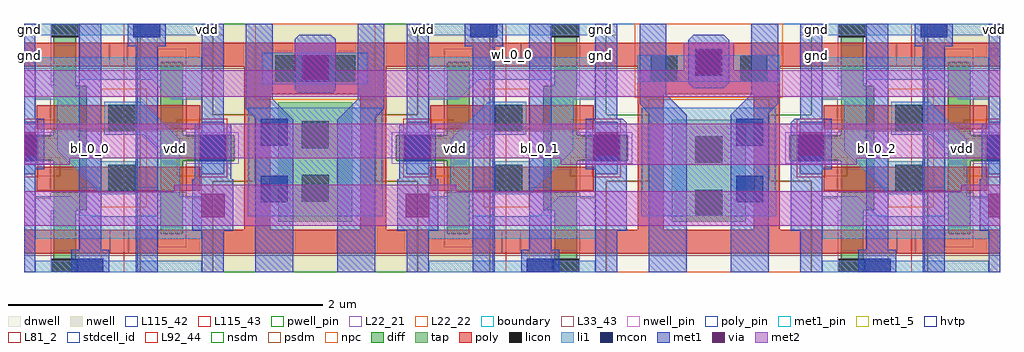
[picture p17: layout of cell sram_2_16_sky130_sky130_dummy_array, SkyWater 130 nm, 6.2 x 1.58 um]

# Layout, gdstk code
from math import pi, radians
import gdstk
lib = gdstk.Library(unit=1e-6, precision=1e-09)
def R(c, l, rs):  # rectangles x0, y0, x1, y1
    for r in rs: c.add(gdstk.rectangle(r[:2], r[2:], *l))
def P(c, l, *ps):  # polygons
    for p in ps: c.add(gdstk.Polygon(p, *l))
L22_21 = (22, 21)
L22_22 = (22, 22)
L33_43 = (33, 43)
nwell_pin = (64, 16)
dnwell = (64, 18)
nwell = (64, 20)
diff = (65, 20)
tap = (65, 44)
poly_pin = (66, 16)
poly = (66, 20)
licon = (66, 44)
li1 = (67, 20)
mcon = (67, 44)
met1_5 = (68, 5)
met1_pin = (68, 16)
met1 = (68, 20)
via = (68, 44)
met2 = (69, 20)
hvtp = (78, 44)
L81_2 = (81, 2)
stdcell_id = (81, 4)
L92_44 = (92, 44)
nsdm = (93, 44)
psdm = (94, 20)
npc = (95, 20)
L115_42 = (115, 42)
L115_43 = (115, 43)
pwell_pin = (122, 16)
boundary = (235, 4)

sky130_fd_bd_sram__openr = lib.new_cell('sky130_fd_bd_sram__openram_sp_cell_opt1a_dummy')
R(sky130_fd_bd_sram__openr, L22_21, [(0.17,0,0.19,0.395), (0.33,0,0.35,0.395), (0,0.69,0.19,0.71), (0,0.87,0.19,0.89), (0.17,1.185,0.19,1.58), (0.33,1.185,0.35,1.58)])
P(sky130_fd_bd_sram__openr, L22_21, [(0.85,0.16),(0.85,1.42),(1.03,1.42),(1.03,0.89),(1.2,0.89),(1.2,0.87),(1.01,0.87),(1.01,1.335),(0.87,1.335),(0.87,0.245),(1.01,0.245),(1.01,0.71),(1.2,0.71),(1.2,0.69),(1.03,0.69),(1.03,0.16)])
R(sky130_fd_bd_sram__openr, L22_22, [(0.07,0.61,0.23,0.73), (0.97,0.61,1.13,0.73), (0.07,0.85,0.23,0.97), (0.97,0.85,1.13,0.97)])
R(sky130_fd_bd_sram__openr, L33_43, [(0,0.27,0.08,0.285), (0.08,0.27,1.2,0.285), (0.07,0.47,0.17,0.72), (1.03,0.47,1.13,0.72), (0.07,0.67,1.13,0.685), (0.07,0.86,0.17,1.11), (1.03,0.86,1.13,1.11), (0.07,1.06,1.13,1.075), (0,1.46,0.08,1.475), (0.08,1.46,1.2,1.475)])
R(sky130_fd_bd_sram__openr, nwell_pin, [(1.14,0.155,1.19,0.205), (0.01,0.17,0.06,0.23)])
R(sky130_fd_bd_sram__openr, dnwell, [(0,0,1.2,1.58)])
R(sky130_fd_bd_sram__openr, nwell, [(0.72,0,1.2,1.58), (0.72,0,1.2,1.58)])
P(sky130_fd_bd_sram__openr, diff, [(0.87,0.245),(0.87,1.335),(1.01,1.335),(1.01,0.87),(1.2,0.87),(1.2,0.71),(1.01,0.71),(1.01,0.245)],
  [(0.19,0),(0.19,0.71),(0,0.71),(0,0.87),(0.19,0.87),(0.19,1.58),(0.33,1.58),(0.33,1.185),(0.4,1.185),(0.4,0.395),(0.33,0.395),(0.33,0)])
R(sky130_fd_bd_sram__openr, poly_pin, [(0.54,0.12,0.66,0.27), (0.545,1.31,0.665,1.46)])
R(sky130_fd_bd_sram__openr, poly, [(0,0.12,0.08,0.27), (0.08,0.12,1.2,0.27), (0.08,0.12,1.2,0.27), (0.08,0.52,1.12,0.67), (0.08,0.91,1.12,1.06), (0,1.31,0.08,1.46), (0.08,1.31,1.2,1.46)])
R(sky130_fd_bd_sram__openr, licon, [(0.175,0,0.345,0.085), (0.535,0.515,0.705,0.685), (0,0.705,0.085,0.875), (1.115,0.705,1.2,0.875), (0.535,0.895,0.705,1.065), (0.175,1.495,0.345,1.58)])
R(sky130_fd_bd_sram__openr, li1, [(0.07,0,1.13,0.075), (0,0.625,0.07,0.955), (1.13,0.625,1.2,0.955), (0.07,1.505,1.13,1.58)])
P(sky130_fd_bd_sram__openr, li1, [(0.07,0.215),(0.07,0.485),(0.21,0.485),(0.21,0.805),(0.49,1.085),(0.71,1.085),(0.71,0.875),(0.48,0.875),(0.35,0.745),(0.35,0.355),(0.81,0.355),(0.94,0.485),(1.13,0.485),(1.13,0.215)],
  [(0.51,0.495),(0.51,0.705),(0.76,0.705),(0.85,0.795),(0.85,1.225),(0.43,1.225),(0.3,1.095),(0.07,1.095),(0.07,1.365),(1.13,1.365),(1.13,1.095),(0.99,1.095),(0.99,0.735),(0.75,0.495)])
R(sky130_fd_bd_sram__openr, mcon, [(0.695,0,0.865,0.085), (0,0.705,0.085,0.875), (1.115,0.705,1.2,0.875), (1.115,0.705,1.2,0.875), (0.335,1.495,0.505,1.58)])
R(sky130_fd_bd_sram__openr, met1_5, [(0,0,0.07,0.075), (1.13,0,1.2,0.075), (0.35,1.04,0.49,1.22), (0.71,1.04,0.85,1.22)])
R(sky130_fd_bd_sram__openr, met1_pin, [(0,0,0.07,0.075), (1.13,0,1.2,0.075), (0.35,1.04,0.49,1.22), (0.71,1.04,0.85,1.22)])
R(sky130_fd_bd_sram__openr, met1, [(0,0,0.07,0.075), (1.13,0,1.2,0.075), (0.35,1.04,0.49,1.22), (0.71,1.04,0.85,1.22)])
P(sky130_fd_bd_sram__openr, met1, [(1.13,0),(1.13,0.635),(1.095,0.635),(1.085,0.645),(1.085,0.99),(1.07,0.99),(1.07,1.315),(1.13,1.315),(1.13,1.58),(1.2,1.58),(1.2,0)],
  [(0.66,0),(0.66,0.145),(0.71,0.145),(0.71,1.58),(0.85,1.58),(0.85,0.145),(0.9,0.145),(0.9,0)],
  [(0.35,0),(0.35,1.435),(0.3,1.435),(0.3,1.58),(0.54,1.58),(0.54,1.435),(0.49,1.435),(0.49,0)],
  [(0,0),(0,1.58),(0.07,1.58),(0.07,0.925),(0.13,0.925),(0.13,0.605),(0.07,0.605),(0.07,0)])
R(sky130_fd_bd_sram__openr, via, [(0,0.69,0.075,0.84), (1.125,1.08,1.2,1.23)])
R(sky130_fd_bd_sram__openr, met2, [(0,0.295,1.2,0.465)])
P(sky130_fd_bd_sram__openr, met2, [(0,0.635),(0,0.895),(0.29,0.895),(0.29,0.855),(1.2,0.855),(1.2,0.635)],
  [(0.955,1.025),(0.955,1.065),(0,1.065),(0,1.285),(1.2,1.285),(1.2,1.025)])
R(sky130_fd_bd_sram__openr, hvtp, [(0.72,0,1.2,1.58)])
R(sky130_fd_bd_sram__openr, L81_2, [(0,0,1.2,1.58)])
R(sky130_fd_bd_sram__openr, L92_44, [(0.635,0,1.2,1.58)])
R(sky130_fd_bd_sram__openr, nsdm, [(0,0,0.74,1.58)])
R(sky130_fd_bd_sram__openr, psdm, [(0.74,0,1.2,1.58)])
R(sky130_fd_bd_sram__openr, npc, [(0.49,0.415,0.78,1.165)])
P(sky130_fd_bd_sram__openr, L115_43, [(1.11,0.605),(1.11,0.975),(1.2,0.975),(1.2,0.955),(1.13,0.955),(1.13,0.625),(1.2,0.625),(1.2,0.605)],
  [(0,0.605),(0,0.625),(0.07,0.625),(0.07,0.955),(0,0.955),(0,0.975),(0.09,0.975),(0.09,0.605)])
R(sky130_fd_bd_sram__openr, pwell_pin, [(0.01,0.17,0.06,0.23), (0.01,0.17,0.06,0.23)])
sky130_fd_bd_sram__openr.add(gdstk.Label('npass', (0.3,0.21), layer=66, texttype=83))
sky130_fd_bd_sram__openr.add(gdstk.Label('npd', (0.295,0.61), layer=66, texttype=83))
sky130_fd_bd_sram__openr.add(gdstk.Label('npd', (0.295,1), layer=66, texttype=83))
sky130_fd_bd_sram__openr.add(gdstk.Label('npass', (0.3,1.41), layer=66, texttype=83))
sky130_fd_bd_sram__openr.add(gdstk.Label('ppu', (0.93,1.01), layer=66, texttype=83))
sky130_fd_bd_sram__openr.add(gdstk.Label('ppu', (0.945,0.625), layer=66, texttype=83))
sky130_fd_bd_sram__openr.add(gdstk.Label('ppu', (0.94,1.33), layer=66, texttype=83))
sky130_fd_bd_sram__openr.add(gdstk.Label('ppu', (0.94,0.26), layer=66, texttype=83))
sky130_fd_bd_sram__openr.add(gdstk.Label('BL', (0.425,1.16), layer=68, texttype=5))
sky130_fd_bd_sram__openr.add(gdstk.Label('BR', (0.79,1.16), layer=68, texttype=5))
sky130_fd_bd_sram__openr.add(gdstk.Label('VGND', (0.035,0.04), layer=68, texttype=5))
sky130_fd_bd_sram__openr.add(gdstk.Label('VPWR', (1.165,0.04), layer=68, texttype=5))
sky130_fd_bd_sram__openr.add(gdstk.Label('VPB', (1.165,0.18), layer=64, texttype=5))
sky130_fd_bd_sram__openr.add(gdstk.Label('WL', (0.6,0.195), layer=66, texttype=5))
sky130_fd_bd_sram__openr.add(gdstk.Label('VNB', (0.035,0.2), layer=64, texttype=59))
sky130_fd_bd_sram__openr.add(gdstk.Label('bl', (0.42,1.13), layer=68, texttype=5))
sky130_fd_bd_sram__openr.add(gdstk.Label('br', (0.78,1.13), layer=68, texttype=5))
sky130_fd_bd_sram__openr.add(gdstk.Label('gnd', (0.035,0.038), layer=68, texttype=5))
sky130_fd_bd_sram__openr.add(gdstk.Label('vdd', (1.165,0.038), layer=68, texttype=5))
sky130_fd_bd_sram__openr.add(gdstk.Label('vpb', (0.96,0.79), layer=64, texttype=5))
sky130_fd_bd_sram__openr.add(gdstk.Label('vnb', (0.035,0.2), layer=64, texttype=59))
sky130_fd_bd_sram__openr.add(gdstk.Label('wl', (0.64,0.195), layer=66, texttype=5))

sky130_fd_bd_sram__sram_ = lib.new_cell('sky130_fd_bd_sram__sram_sp_wlstrapa_p1m_siz')
R(sky130_fd_bd_sram__sram_, L33_43, [(0,0.105,1.3,0.12), (0,1.295,0.2,1.31), (1.1,1.295,1.3,1.31)])

c_sky130_fd_bd_sram__sram_ = lib.new_cell('sky130_fd_bd_sram__sram_sp_wlstrap_ce')
P(c_sky130_fd_bd_sram__sram_, L22_21, [(0,0.69),(0,0.71),(0.135,0.71),(0.135,0.87),(0,0.87),(0,0.89),(0.165,0.89),(0.165,0.69)],
  [(1.135,0.69),(1.135,0.89),(1.3,0.89),(1.3,0.87),(1.165,0.87),(1.165,0.71),(1.3,0.71),(1.3,0.69)])
R(c_sky130_fd_bd_sram__sram_, dnwell, [(0,0,1.3,1.58)])
R(c_sky130_fd_bd_sram__sram_, nwell, [(0,0,1.3,1.58)])
R(c_sky130_fd_bd_sram__sram_, diff, [(0,0.71,0.135,0.87), (1.165,0.71,1.3,0.87)])
R(c_sky130_fd_bd_sram__sram_, tap, [(0.415,0.5,0.885,1.26)])
P(c_sky130_fd_bd_sram__sram_, poly, [(0,0.12),(0,0.27),(0.2,0.27),(0.2,1.31),(0,1.31),(0,1.46),(1.3,1.46),(1.3,1.31),(1.1,1.31),(1.1,0.27),(1.3,0.27),(1.3,0.12),(0.935,0.12),(0.935,1.31),(0.365,1.31),(0.365,0.45),(0.935,0.45),(0.935,0.12)])
R(c_sky130_fd_bd_sram__sram_, licon, [(0.395,0.2,0.565,0.37), (0.735,0.2,0.905,0.37), (0.565,0.62,0.735,0.79), (0,0.705,0.085,0.875), (1.215,0.705,1.3,0.875), (0.565,0.96,0.735,1.13)])
R(c_sky130_fd_bd_sram__sram_, li1, [(0.315,0.185,0.985,0.385), (0.22,0.535,1.08,1.225), (0,0.625,0.07,0.955), (1.23,0.625,1.3,0.955)])
R(c_sky130_fd_bd_sram__sram_, mcon, [(0.565,0.2,0.735,0.37), (0.305,0.605,0.475,0.775), (0,0.705,0.085,0.875), (1.215,0.705,1.3,0.875), (0.305,0.965,0.475,1.135)])
P(c_sky130_fd_bd_sram__sram_, met1, [(0.21,0),(0.21,0.54),(0.27,0.6),(0.27,1.58),(0.51,1.58),(0.51,0.61),(0.38,0.48),(0.38,0)],
  [(0.55,0.07),(0.52,0.1),(0.52,0.42),(0.54,0.44),(0.76,0.44),(0.78,0.42),(0.78,0.1),(0.75,0.07)],
  [(0.92,0),(0.92,0.48),(0.79,0.61),(0.79,1.58),(1.03,1.58),(1.03,0.6),(1.09,0.54),(1.09,0)],
  [(1.23,0),(1.23,0.635),(1.195,0.635),(1.185,0.645),(1.185,0.99),(1.17,0.99),(1.17,1.315),(1.23,1.315),(1.23,1.58),(1.3,1.58),(1.3,0)],
  [(0,0),(0,1.58),(0.07,1.58),(0.07,1.315),(0.13,1.315),(0.13,0.99),(0.115,0.99),(0.115,0.645),(0.105,0.635),(0.07,0.635),(0.07,0)])
R(c_sky130_fd_bd_sram__sram_, via, [(0.575,0.205,0.725,0.355), (0,1.08,0.075,1.23), (1.225,1.08,1.3,1.23)])
R(c_sky130_fd_bd_sram__sram_, hvtp, [(0,0,1.3,1.58)])
R(c_sky130_fd_bd_sram__sram_, L81_2, [(0,0,1.3,1.58)])
R(c_sky130_fd_bd_sram__sram_, L92_44, [(0,0,1.3,1.58)])
P(c_sky130_fd_bd_sram__sram_, nsdm, [(0,0),(0,0.58),(0.265,0.58),(0.265,1),(0,1),(0,1.58),(1.3,1.58),(1.3,1),(1.035,1),(1.035,0.58),(1.3,0.58),(1.3,0)])
R(c_sky130_fd_bd_sram__sram_, psdm, [(0,0.58,0.265,1), (1.035,0.58,1.3,1)])
R(c_sky130_fd_bd_sram__sram_, npc, [(0.27,0,1.03,0.485)])
R(c_sky130_fd_bd_sram__sram_, L115_42, [(0.22,0.535,0.23,1.055), (1.07,0.535,1.08,1.055)])
P(c_sky130_fd_bd_sram__sram_, L115_43, [(1.21,0.605),(1.21,0.975),(1.3,0.975),(1.3,0.955),(1.23,0.955),(1.23,0.625),(1.3,0.625),(1.3,0.605)],
  [(0,0.605),(0,0.625),(0.07,0.625),(0.07,0.955),(0,0.955),(0,0.975),(0.09,0.975),(0.09,0.605)])

c_sky130_fd_bd_sram__sram__ = lib.new_cell('sky130_fd_bd_sram__sram_sp_wlstrap_met2')
R(c_sky130_fd_bd_sram__sram__, met2, [(0.52,0.12,0.78,0.44), (0,0.295,1.3,0.465), (0,0.635,1.3,0.855), (0,1.025,1.3,1.285)])

c_sky130_fd_bd_sram__sram___ = lib.new_cell('sky130_fd_bd_sram__sram_sp_wlstrapa')
R(c_sky130_fd_bd_sram__sram___, met1_5, [(0,0,0.07,0.075), (1.23,0,1.3,0.075)])
R(c_sky130_fd_bd_sram__sram___, met1_pin, [(0,0,0.07,0.075), (1.23,0,1.3,0.075)])
R(c_sky130_fd_bd_sram__sram___, met1, [(0,0,0.07,0.075), (1.23,0,1.3,0.075)])
c_sky130_fd_bd_sram__sram___.add(gdstk.Reference(sky130_fd_bd_sram__sram_, (0,1.58), x_reflection=True))
c_sky130_fd_bd_sram__sram___.add(gdstk.Reference(c_sky130_fd_bd_sram__sram_, (0,0)))
c_sky130_fd_bd_sram__sram___.add(gdstk.Reference(c_sky130_fd_bd_sram__sram__, (0,0)))
c_sky130_fd_bd_sram__sram___.add(gdstk.Label('VPWR', (0.035,0.04), layer=68, texttype=5))
c_sky130_fd_bd_sram__sram___.add(gdstk.Label('VPWR', (1.265,0.04), layer=68, texttype=5))
c_sky130_fd_bd_sram__sram___.add(gdstk.Label('vdd', (0.035,0.038), layer=68, texttype=5))
c_sky130_fd_bd_sram__sram___.add(gdstk.Label('vdd', (1.265,0.038), layer=68, texttype=5))

c_sky130_fd_bd_sram__sram____ = lib.new_cell('sky130_fd_bd_sram__sram_l1m1')
R(c_sky130_fd_bd_sram__sram____, li1, [(0,0,0.17,0.17)])
R(c_sky130_fd_bd_sram__sram____, mcon, [(0,0,0.17,0.17)])
R(c_sky130_fd_bd_sram__sram____, met1, [(-0.06,-0.03,0.23,0.2)])

c_sky130_fd_bd_sram__sram_____ = lib.new_cell('sky130_fd_bd_sram__sram_sp_wlstrap_p_ce')
P(c_sky130_fd_bd_sram__sram_____, L22_21, [(0,0.69),(0,0.71),(0.135,0.71),(0.135,0.87),(0,0.87),(0,0.89),(0.165,0.89),(0.165,0.69)],
  [(1.135,0.69),(1.135,0.89),(1.3,0.89),(1.3,0.87),(1.165,0.87),(1.165,0.71),(1.3,0.71),(1.3,0.69)])
R(c_sky130_fd_bd_sram__sram_____, dnwell, [(0,0,1.3,1.58)])
R(c_sky130_fd_bd_sram__sram_____, diff, [(0,0.71,0.135,0.87), (1.165,0.71,1.3,0.87)])
R(c_sky130_fd_bd_sram__sram_____, tap, [(0.415,0.61,0.885,1.26)])
R(c_sky130_fd_bd_sram__sram_____, poly, [(0.53,0.12,0.77,0.45), (0.2,1.31,1.1,1.46)])
P(c_sky130_fd_bd_sram__sram_____, poly, [(0,0.12),(0,0.27),(0.2,0.27),(0.2,1.31),(0,1.31),(0,1.46),(0.365,1.46),(0.365,0.45),(0.53,0.45),(0.53,0.12)],
  [(0.77,0.12),(0.77,0.45),(0.935,0.45),(0.935,1.46),(1.3,1.46),(1.3,1.31),(1.1,1.31),(1.1,0.27),(1.3,0.27),(1.3,0.12)])
R(c_sky130_fd_bd_sram__sram_____, licon, [(0.28,0.2,0.45,0.37), (0.85,0.2,1.02,0.37), (0,0.705,0.085,0.875), (1.215,0.705,1.3,0.875), (0.565,0.715,0.735,0.885), (0.565,1.055,0.735,1.225)])
R(c_sky130_fd_bd_sram__sram_____, li1, [(0.22,0.535,1.08,1.225), (0,0.625,0.07,0.955), (1.23,0.625,1.3,0.955)])
R(c_sky130_fd_bd_sram__sram_____, mcon, [(0.825,0.605,0.995,0.775), (0,0.705,0.085,0.875), (1.215,0.705,1.3,0.875), (0.825,0.965,0.995,1.135)])
P(c_sky130_fd_bd_sram__sram_____, met1, [(0.555,0.07),(0.52,0.105),(0.52,0.375),(0.555,0.41),(0.745,0.41),(0.78,0.375),(0.78,0.105),(0.745,0.07)],
  [(0.21,0),(0.21,0.51),(0.27,0.57),(0.27,1.58),(0.51,1.58),(0.51,0.58),(0.38,0.45),(0.38,0)],
  [(0.92,0),(0.92,0.45),(0.79,0.58),(0.79,1.58),(1.03,1.58),(1.03,0.57),(1.09,0.51),(1.09,0)],
  [(1.23,0),(1.23,0.605),(1.195,0.605),(1.17,0.63),(1.17,1.315),(1.23,1.315),(1.23,1.58),(1.3,1.58),(1.3,0)],
  [(0,0),(0,1.58),(0.07,1.58),(0.07,1.315),(0.13,1.315),(0.13,0.63),(0.105,0.605),(0.07,0.605),(0.07,0)])
R(c_sky130_fd_bd_sram__sram_____, via, [(0.575,0.17,0.725,0.32), (0,0.69,0.075,0.84), (1.225,0.69,1.3,0.84)])
R(c_sky130_fd_bd_sram__sram_____, met2, [(0.49,0.12,0.81,0.44)])
R(c_sky130_fd_bd_sram__sram_____, L81_2, [(0,0,1.3,1.58)])
R(c_sky130_fd_bd_sram__sram_____, nsdm, [(0,0.58,0.265,1), (1.035,0.58,1.3,1)])
P(c_sky130_fd_bd_sram__sram_____, psdm, [(0.265,0.48),(0.265,1),(0,1),(0,1.58),(1.3,1.58),(1.3,1),(1.035,1),(1.035,0.48)])
R(c_sky130_fd_bd_sram__sram_____, npc, [(0.18,0,1.12,0.47)])
R(c_sky130_fd_bd_sram__sram_____, L115_42, [(0.22,0.535,0.23,1.055), (1.07,0.535,1.08,1.055)])
P(c_sky130_fd_bd_sram__sram_____, L115_43, [(1.21,0.605),(1.21,0.975),(1.3,0.975),(1.3,0.955),(1.23,0.955),(1.23,0.625),(1.3,0.625),(1.3,0.605)],
  [(0,0.605),(0,0.625),(0.07,0.625),(0.07,0.955),(0,0.955),(0,0.975),(0.09,0.975),(0.09,0.605)])
c_sky130_fd_bd_sram__sram_____.add(gdstk.FlexPath([(0.2,0.285),(1.1,0.285)], 0.17, ends="flush", simple_path=True, layer=67, datatype=20))  # li1
c_sky130_fd_bd_sram__sram_____.add(gdstk.Reference(c_sky130_fd_bd_sram__sram____, (0.735,0.16), rotation=pi/2))

c_sky130_fd_bd_sram__sram______ = lib.new_cell('sky130_fd_bd_sram__sram_sp_wlstrap_p_met2')
R(c_sky130_fd_bd_sram__sram______, met2, [(0,0.295,1.3,0.465), (0,0.635,1.3,0.895), (0,1.065,1.3,1.285)])

c_sky130_fd_bd_sram__sram_______ = lib.new_cell('sky130_fd_bd_sram__sram_sp_wlstrapa_p')
R(c_sky130_fd_bd_sram__sram_______, met1_5, [(0,0,0.07,0.075), (1.23,0,1.3,0.075)])
R(c_sky130_fd_bd_sram__sram_______, met1_pin, [(0,0,0.07,0.075), (1.23,0,1.3,0.075)])
R(c_sky130_fd_bd_sram__sram_______, met1, [(0,0,0.07,0.075), (1.23,0,1.3,0.075)])
c_sky130_fd_bd_sram__sram_______.add(gdstk.Reference(c_sky130_fd_bd_sram__sram_____, (0,0)))
c_sky130_fd_bd_sram__sram_______.add(gdstk.Reference(c_sky130_fd_bd_sram__sram______, (0,0)))
c_sky130_fd_bd_sram__sram_______.add(gdstk.Reference(sky130_fd_bd_sram__sram_, (0,1.58), x_reflection=True))
c_sky130_fd_bd_sram__sram_______.add(gdstk.Label('VGND', (0.035,0.04), layer=68, texttype=5))
c_sky130_fd_bd_sram__sram_______.add(gdstk.Label('VGND', (1.265,0.04), layer=68, texttype=5))
c_sky130_fd_bd_sram__sram_______.add(gdstk.Label('gnd', (0.035,0.038), layer=68, texttype=5))
c_sky130_fd_bd_sram__sram_______.add(gdstk.Label('gnd', (1.265,0.038), layer=68, texttype=5))

sram_2_16_sky130_sky130_ = lib.new_cell('sram_2_16_sky130_sky130_dummy_array')
R(sram_2_16_sky130_sky130_, nwell, [(0.72,0,1.2,1.58), (2.5,0,2.98,1.58), (5.72,0,6.2,1.58)])
R(sram_2_16_sky130_sky130_, poly, [(0,1.31,6.2,1.46)])
R(sram_2_16_sky130_sky130_, met1_5, [(0.35,0,0.49,1.58), (0.71,0,0.85,1.58), (2.85,0,2.99,1.58), (3.21,0,3.35,1.58), (5.35,0,5.49,1.58), (5.71,0,5.85,1.58), (0,1.505,0.07,1.58), (1.13,1.505,1.2,1.58), (2.5,1.505,2.57,1.58), (3.63,1.505,3.7,1.58), (5,1.505,5.07,1.58), (6.13,1.505,6.2,1.58)])
R(sram_2_16_sky130_sky130_, met1, [(0.35,0,0.49,1.58), (0.71,0,0.85,1.58), (2.85,0,2.99,1.58), (3.21,0,3.35,1.58), (5.35,0,5.49,1.58), (5.71,0,5.85,1.58), (0,1.505,0.07,1.58), (1.13,1.505,1.2,1.58), (2.5,1.505,2.57,1.58), (3.63,1.505,3.7,1.58), (5,1.505,5.07,1.58), (6.13,1.505,6.2,1.58)])
R(sram_2_16_sky130_sky130_, stdcell_id, [(0,0,6.2,1.58)])
R(sram_2_16_sky130_sky130_, pwell_pin, [(0.01,1.35,0.06,1.41), (3.64,1.35,3.69,1.41), (5.01,1.35,5.06,1.41)])
R(sram_2_16_sky130_sky130_, boundary, [(0,0,6.2,1.58)])
sram_2_16_sky130_sky130_.add(gdstk.Reference(sky130_fd_bd_sram__openr, (0,1.58), x_reflection=True))
sram_2_16_sky130_sky130_.add(gdstk.Reference(c_sky130_fd_bd_sram__sram___, (1.2,1.58), x_reflection=True))
sram_2_16_sky130_sky130_.add(gdstk.Reference(sky130_fd_bd_sram__openr, (3.7,1.58), rotation=pi))
sram_2_16_sky130_sky130_.add(gdstk.Reference(c_sky130_fd_bd_sram__sram_______, (3.7,1.58), x_reflection=True))
sram_2_16_sky130_sky130_.add(gdstk.Reference(sky130_fd_bd_sram__openr, (5,1.58), x_reflection=True))
sram_2_16_sky130_sky130_.add(gdstk.Label('vdd', (0.96,0.79), layer=64, texttype=20))
sram_2_16_sky130_sky130_.add(gdstk.Label('gnd', (0.035,1.38), layer=122, texttype=16))
sram_2_16_sky130_sky130_.add(gdstk.Label('vdd', (2.74,0.79), layer=64, texttype=20))
sram_2_16_sky130_sky130_.add(gdstk.Label('gnd', (3.665,1.38), layer=122, texttype=16))
sram_2_16_sky130_sky130_.add(gdstk.Label('vdd', (5.96,0.79), layer=64, texttype=20))
sram_2_16_sky130_sky130_.add(gdstk.Label('gnd', (5.035,1.38), layer=122, texttype=16))
sram_2_16_sky130_sky130_.add(gdstk.Label('bl_0_0', (0.42,0.79), layer=68, texttype=5))
sram_2_16_sky130_sky130_.add(gdstk.Label('br_0_0', (0.78,0.79), layer=68, texttype=5))
sram_2_16_sky130_sky130_.add(gdstk.Label('bl_0_1', (3.28,0.79), layer=68, texttype=5))
sram_2_16_sky130_sky130_.add(gdstk.Label('br_0_1', (2.92,0.79), layer=68, texttype=5))
sram_2_16_sky130_sky130_.add(gdstk.Label('bl_0_2', (5.42,0.79), layer=68, texttype=5))
sram_2_16_sky130_sky130_.add(gdstk.Label('br_0_2', (5.78,0.79), layer=68, texttype=5))
sram_2_16_sky130_sky130_.add(gdstk.Label('wl_0_0', (3.1,1.385), layer=66, texttype=5))
sram_2_16_sky130_sky130_.add(gdstk.Label('vdd', (2.535,1.542), layer=68, texttype=5))
sram_2_16_sky130_sky130_.add(gdstk.Label('vdd', (6.165,1.542), layer=68, texttype=5))
sram_2_16_sky130_sky130_.add(gdstk.Label('vdd', (1.165,1.542), layer=68, texttype=5))
sram_2_16_sky130_sky130_.add(gdstk.Label('gnd', (5.035,1.542), layer=68, texttype=5))
sram_2_16_sky130_sky130_.add(gdstk.Label('gnd', (0.035,1.542), layer=68, texttype=5))
sram_2_16_sky130_sky130_.add(gdstk.Label('gnd', (3.665,1.542), layer=68, texttype=5))

lib.write_gds('sram_2_16_sky130_sky130_dummy_array.gds')
